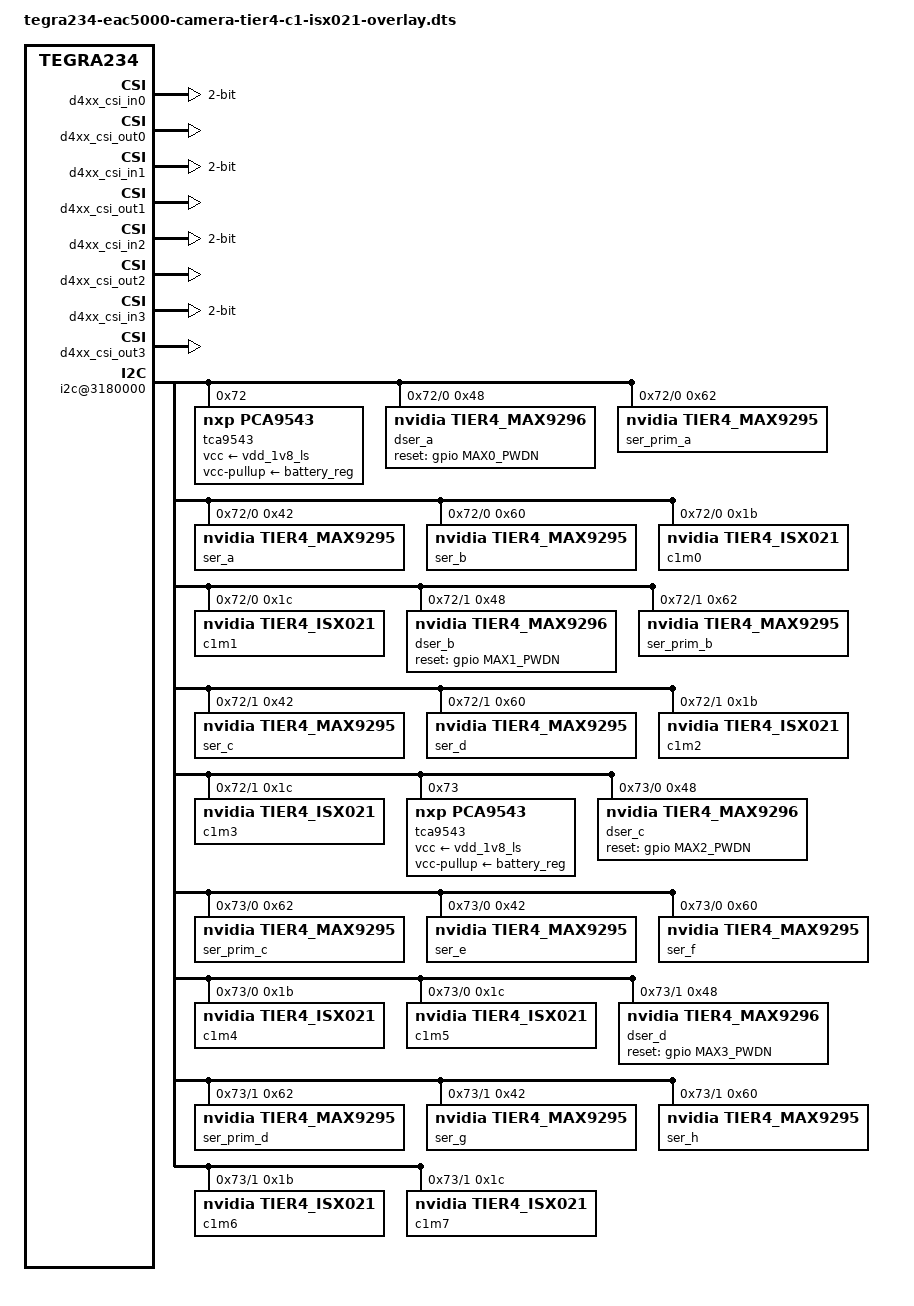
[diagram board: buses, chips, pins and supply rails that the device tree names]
// SPDX-License-Identifier: GPL-2.0-only
// SPDX-FileCopyrightText: Copyright (c) 2018-2023, INTEL CORPORATION.  All rights reserved.

/dts-v1/;
/plugin/;

#include <dt-bindings/clock/tegra234-clock.h>
#include <dt-bindings/gpio/tegra234-gpio.h>
#include <dt-bindings/tegra234-p3737-0000+p3701-0000.h>

#define MAX0_PWDN	TEGRA234_MAIN_GPIO(H, 6)
#define MAX1_PWDN	TEGRA234_MAIN_GPIO(AC, 0)
#define MAX2_PWDN	TEGRA234_MAIN_GPIO(H, 3)
#define MAX3_PWDN	TEGRA234_MAIN_GPIO(AC, 1)
#define CAMERA_I2C_MUX_BUS(x) (0x1E + x)

/* camera control gpio definitions */
/ {
	overlay-name = "EAC5000 Tier4 Camera C1 Device Tree Overlay";
	jetson-header-name = "Jetson AGX CSI Connector";
	compatible = "nvidia,p3737-0000+p3701-0000", "nvidia,tegra234", "nvidia,tegra23x";
	//compatible = JETSON_COMPATIBLE;

	fragment@0 {
		target-path = "/";
		__overlay__ {
			tegra-capture-vi {
				num-channels = <4>;
				ports {
					status = "okay";
					port@0 {
						status = "okay";
						d4xx_vi_in0: endpoint {
							status = "okay";
							vc-id = <0>;
							port-index = <0>;
							bus-width = <2>;
							remote-endpoint = <&d4xx_csi_out0>;
						};
					};
					port@1 {
						status = "okay";
						d4xx_vi_in1: endpoint {
							status = "okay";
							vc-id = <1>;
							port-index = <0>;
							bus-width = <2>;
							remote-endpoint = <&d4xx_csi_out1>;
						};
					};
					port@2 {
						status = "okay";
						d4xx_vi_in2: endpoint {
							status = "okay";
							vc-id = <2>;
							port-index = <0>;
							bus-width = <2>;
							remote-endpoint = <&d4xx_csi_out2>;
						};
					};
					port@3 {
						status = "okay";
						d4xx_vi_in3: endpoint {
							status = "okay";
							vc-id = <3>;
							port-index = <0>;
							bus-width = <2>;
							remote-endpoint = <&d4xx_csi_out3>;
						};
					};
				};
			};
			tegra-camera-platform {
				modules {
					status = "okay";
					module0 {
						status = "okay";
						badge = "d4xx_depth";
						position = "bottomleft";
						orientation = "1";
						drivernode0 {
							status = "okay";
							/* Declare PCL support driver (classically known as guid)  */
							pcl_id = "v4l2_sensor";
							/* Declare the device-tree hierarchy to driver instance */
							sysfs-device-tree = "/sys/firmware/devicetree/base/bus@0/i2c@3180000/tca9543@72/i2c@0/d4m@1a";
						};
					};
					module1 {
						status = "okay";
						badge = "d4xx_rgb";
						position = "bottomright";
						orientation = "1";
						drivernode0 {
							status = "okay";
							/* Declare PCL support driver (classically known as guid)  */
							pcl_id = "v4l2_sensor";
							/* Declare the device-tree hierarchy to driver instance */
							sysfs-device-tree = "/sys/firmware/devicetree/base/bus@0/i2c@3180000/tca9543@72/i2c@1/d4m@1a";
						};
					};
					module2 {
						status = "okay";
						badge = "d4xx_y8";
						position = "centerleft";
						orientation = "1";
						drivernode0 {
							status = "okay";
							/* Declare PCL support driver (classically known as guid)  */
							pcl_id = "v4l2_sensor";
							sysfs-device-tree = "/sys/firmware/devicetree/base/bus@0/i2c@3180000/tca9543@72/i2c@2/d4m@1a";
						};
					};
					module3 {
						status = "okay";
						badge = "d4xx_imu";
						position = "centerright";
						orientation = "1";
						drivernode0 {
							status = "okay";
								/* Declare PCL support driver (classically known as guid)  */
							pcl_id = "v4l2_sensor";
							/* Declare the device-tree hierarchy to driver instance */
							sysfs-device-tree = "/sys/firmware/devicetree/base/bus@0/i2c@3180000/tca9543@72/i2c@3/d4m@1a";
						};
					};
				};
			};
			bus@0 {
				host1x@13e00000 {
					nvcsi@15a00000 {
						num-channels = <4>;
						channel@0 {
							status = "okay";
							ports {
								status = "okay";
								port@0 {
									status = "okay";
									d4xx_csi_in0: endpoint@0 {
										status = "okay";
										port-index = <0>;
										bus-width = <2>;
										remote-endpoint = <&d4m0_out>;
									};
								};
								port@1 {
									status = "okay";
									d4xx_csi_out0: endpoint@1 {
										status = "okay";
										remote-endpoint = <&d4xx_vi_in0>;
									};
								};
							};
						};
						channel@1 {
							status = "okay";
							ports {
								status = "okay";
								port@0 {
									status = "okay";
									d4xx_csi_in1: endpoint@2 {
										status = "okay";
										port-index = <0>;
										bus-width = <2>;
										remote-endpoint = <&d4m1_out>;
									};
								};
								port@1 {
									status = "okay";
									d4xx_csi_out1: endpoint@3 {
										status = "okay";
										remote-endpoint = <&d4xx_vi_in1>;
									};
								};
							};
						};
						channel@2 {
							status = "okay";
							ports {
								status = "okay";
								port@0 {
									status = "okay";
									d4xx_csi_in2: endpoint@4 {
										status = "okay";
										port-index = <0>;
										bus-width = <2>;
										remote-endpoint = <&d4m2_out>;
									};
								};
								port@1 {
									status = "okay";
									d4xx_csi_out2: endpoint@5 {
										status = "okay";
										remote-endpoint = <&d4xx_vi_in2>;
									};
								};
							};
						};
						channel@3 {
							status = "okay";
							ports {
								status = "okay";
								port@0 {
									status = "okay";
									d4xx_csi_in3: endpoint@6 {
										status = "okay";
										port-index = <0>;
										bus-width = <2>;
										remote-endpoint = <&d4m3_out>;
									};
								};
								port@1 {
									status = "okay";
									d4xx_csi_out3: endpoint@7 {
										status = "okay";
										remote-endpoint = <&d4xx_vi_in3>;
									};
								};
							};
						};
					};
				};
				
				i2c@3180000 {
					tca9543@72 {
						status = "okay";
						reg = <0x72>;
						compatible = "nxp,pca9543";
						#address-cells = <1>;
						#size-cells = <0>;
						skip_mux_detect = "yes";
						vcc-supply = <&vdd_1v8_ls>;
						vcc-pullup-supply = <&battery_reg>;
						force_bus_start = <CAMERA_I2C_MUX_BUS(0)>;
						// vcc_lp = "vcc";

						i2c@0 {
							reg = <0>;
							i2c-mux,deselect-on-exit;
							#address-cells = <1>;
							#size-cells = <0>;

							dser_a: max9296@48 {
								status = "okay";
								reg = <0x48>;
								compatible = "nvidia,tier4_max9296";
								csi-mode = "2x4";
								max-src = <2>;
								fsync-gpio = <6>;
								reset-gpios = <&gpio MAX0_PWDN GPIO_ACTIVE_HIGH>;
							};

							ser_prim_a: max9295_prim@62 {
								status = "okay";
								reg = <0x62>;
								compatible = "nvidia,tier4_max9295";
								is-prim-ser;
							};

							ser_a: max9295_a@42 {
								status = "okay";
								reg = <0x42>;
								compatible = "nvidia,tier4_max9295";
								nvidia,gmsl-dser-device = <&dser_a>;
								//maxim,gmsl-dser-device = <&dser_a>;
							};

							ser_b: max9295_b@60 {
								status = "okay";
								reg = <0x60>;
								compatible = "nvidia,tier4_max9295";
								nvidia,gmsl-dser-device = <&dser_a>;
								//maxim,gmsl-dser-device = <&dser_a>;
							};

							c1m0: isx021_a@1b {
								status = "okay";
								reg = <0x1b>;
								compatible = "nvidia,tier4_isx021";
								def-addr = <0x1a>;
								
								/* Define any required hw resources needed by driver */
								/* ie. clocks, io pins, power sources */
#if 1
								clocks = <&bpmp_clks TEGRA234_CLK_EXTPERIPH1>,
									<&bpmp_clks TEGRA234_CLK_EXTPERIPH1>;
#else
								clocks = <&bpmp 36U>, <&bpmp 36U>;
#endif
								clock-names = "extperiph1", "pllp_grtba";
								mclk = "extperiph1";
								nvidia,gmsl-ser-device = <&ser_a>;
								nvidia,gmsl-dser-device = <&dser_a>;
							};

							c1m1: isx021_b@1c {
								status = "okay";
								reg = <0x1c>;
								compatible = "nvidia,tier4_isx021";
								def-addr = <0x1a>;
								/* Define any required hw resources needed by driver */
								/* ie. clocks, io pins, power sources */
#if 1
								clocks = <&bpmp_clks TEGRA234_CLK_EXTPERIPH1>,
									<&bpmp_clks TEGRA234_CLK_EXTPERIPH1>;
#else
								clocks = <&bpmp 36U>, <&bpmp 36U>;
#endif
								clock-names = "extperiph1", "pllp_grtba";
								mclk = "extperiph1";
								nvidia,gmsl-ser-device = <&ser_b>;
								nvidia,gmsl-dser-device = <&dser_a>;
							};
						};

						i2c@1 {
							reg = <1>;
							i2c-mux,deselect-on-exit;
							#address-cells = <1>;
							#size-cells = <0>;

							dser_b: max9296@48 {
								status = "okay";
								reg = <0x48>;
								compatible = "nvidia,tier4_max9296";
								csi-mode = "2x4";
								max-src = <2>;
								fsync-gpio = <6>;
								reset-gpios = <&gpio MAX1_PWDN GPIO_ACTIVE_HIGH>;
							};

							ser_prim_b: max9295_prim@62 {
								status = "okay";
								reg = <0x62>;
								compatible = "nvidia,tier4_max9295";
								is-prim-ser;
							};

							ser_c: max9295_a@42 {
								status = "okay";
								reg = <0x42>;
								compatible = "nvidia,tier4_max9295";
								nvidia,gmsl-dser-device = <&dser_b>;
								//maxim,gmsl-dser-device = <&dser_b>;
							};

							ser_d: max9295_b@60 {
								status = "okay";
								reg = <0x60>;
								compatible = "nvidia,tier4_max9295";
								nvidia,gmsl-dser-device = <&dser_b>;
								//maxim,gmsl-dser-device = <&dser_b>;
							};

							c1m2: isx021_c@1b {
								status = "okay";
								reg = <0x1b>;
								compatible = "nvidia,tier4_isx021";
								def-addr = <0x1a>;
								
								/* Define any required hw resources needed by driver */
								/* ie. clocks, io pins, power sources */
#if 1
								clocks = <&bpmp_clks TEGRA234_CLK_EXTPERIPH1>,
									<&bpmp_clks TEGRA234_CLK_EXTPERIPH1>;
#else
								clocks = <&bpmp 36U>, <&bpmp 36U>;
#endif
								clock-names = "extperiph1", "pllp_grtba";
								mclk = "extperiph1";
								nvidia,gmsl-ser-device = <&ser_c>;
								nvidia,gmsl-dser-device = <&dser_b>;
							};

							c1m3: isx021_d@1c {
								status = "okay";
								reg = <0x1c>;
								compatible = "nvidia,tier4_isx021";
								def-addr = <0x1a>;
								/* Define any required hw resources needed by driver */
								/* ie. clocks, io pins, power sources */
#if 1
								clocks = <&bpmp_clks TEGRA234_CLK_EXTPERIPH1>,
									<&bpmp_clks TEGRA234_CLK_EXTPERIPH1>;
#else
								clocks = <&bpmp 36U>, <&bpmp 36U>;
#endif
								clock-names = "extperiph1", "pllp_grtba";
								mclk = "extperiph1";
								nvidia,gmsl-ser-device = <&ser_d>;
								nvidia,gmsl-dser-device = <&dser_b>;
							};
						};
					};
					
					tca9543@73 {
						status = "okay";
						reg = <0x73>;
						compatible = "nxp,pca9543";
						#address-cells = <1>;
						#size-cells = <0>;
						skip_mux_detect = "yes";
						vcc-supply = <&vdd_1v8_ls>;
						vcc-pullup-supply = <&battery_reg>;
						force_bus_start = <CAMERA_I2C_MUX_BUS(2)>;
						// vcc_lp = "vcc";

						i2c@0 {
							reg = <0>;
							i2c-mux,deselect-on-exit;
							#address-cells = <1>;
							#size-cells = <0>;

							dser_c: max9296@48 {
								status = "okay";
								reg = <0x48>;
								compatible = "nvidia,tier4_max9296";
								csi-mode = "2x4";
								max-src = <2>;
								fsync-gpio = <6>;
								reset-gpios = <&gpio MAX2_PWDN GPIO_ACTIVE_HIGH>;
							};

							ser_prim_c: max9295_prim@62 {
								status = "okay";
								reg = <0x62>;
								compatible = "nvidia,tier4_max9295";
								is-prim-ser;
							};

							ser_e: max9295_a@42 {
								status = "okay";
								reg = <0x42>;
								compatible = "nvidia,tier4_max9295";
								nvidia,gmsl-dser-device = <&dser_c>;
								//maxim,gmsl-dser-device = <&dser_c>;
							};

							ser_f: max9295_b@60 {
								status = "okay";
								reg = <0x60>;
								compatible = "nvidia,tier4_max9295";
								nvidia,gmsl-dser-device = <&dser_c>;
								//maxim,gmsl-dser-device = <&dser_c>;
							};

							c1m4: isx021_a@1b {
								status = "okay";
								reg = <0x1b>;
								compatible = "nvidia,tier4_isx021";
								def-addr = <0x1a>;
								
								/* Define any required hw resources needed by driver */
								/* ie. clocks, io pins, power sources */
#if 1
								clocks = <&bpmp_clks TEGRA234_CLK_EXTPERIPH1>,
									<&bpmp_clks TEGRA234_CLK_EXTPERIPH1>;
#else
								clocks = <&bpmp 36U>, <&bpmp 36U>;
#endif
								clock-names = "extperiph1", "pllp_grtba";
								mclk = "extperiph1";
								nvidia,gmsl-ser-device = <&ser_e>;
								nvidia,gmsl-dser-device = <&dser_c>;
							};

							c1m5: isx021_b@1c {
								status = "okay";
								reg = <0x1c>;
								compatible = "nvidia,tier4_isx021";
								def-addr = <0x1a>;
								
								/* Define any required hw resources needed by driver */
								/* ie. clocks, io pins, power sources */
#if 1
								clocks = <&bpmp_clks TEGRA234_CLK_EXTPERIPH1>,
									<&bpmp_clks TEGRA234_CLK_EXTPERIPH1>;
#else
								clocks = <&bpmp 36U>, <&bpmp 36U>;
#endif
								clock-names = "extperiph1", "pllp_grtba";
								mclk = "extperiph1";
								nvidia,gmsl-ser-device = <&ser_f>;
								nvidia,gmsl-dser-device = <&dser_c>;
							};
						};

						i2c@1 {
							reg = <1>;
							i2c-mux,deselect-on-exit;
							#address-cells = <1>;
							#size-cells = <0>;

							dser_d: max9296@48 {
								status = "okay";
								reg = <0x48>;
								compatible = "nvidia,tier4_max9296";
								csi-mode = "2x4";
								max-src = <2>;
								fsync-gpio = <6>;
								reset-gpios = <&gpio MAX3_PWDN GPIO_ACTIVE_HIGH>;
							};

							ser_prim_d: max9295_prim@62 {
								status = "okay";
								reg = <0x62>;
								compatible = "nvidia,tier4_max9295";
								is-prim-ser;
							};

							ser_g: max9295_a@42 {
								status = "okay";
								reg = <0x42>;
								compatible = "nvidia,tier4_max9295";
								nvidia,gmsl-dser-device = <&dser_d>;
								//maxim,gmsl-dser-device = <&dser_d>;
							};

							ser_h: max9295_b@60 {
								status = "okay";
								reg = <0x60>;
								compatible = "nvidia,tier4_max9295";
								nvidia,gmsl-dser-device = <&dser_d>;
								//maxim,gmsl-dser-device = <&dser_d>;
							};

							c1m6: isx021_c@1b {
								status = "okay";
								reg = <0x1b>;
								compatible = "nvidia,tier4_isx021";
								def-addr = <0x1a>;
								
								/* Define any required hw resources needed by driver */
								/* ie. clocks, io pins, power sources */
#if 1
								clocks = <&bpmp_clks TEGRA234_CLK_EXTPERIPH1>,
									<&bpmp_clks TEGRA234_CLK_EXTPERIPH1>;
#else
								clocks = <&bpmp 36U>, <&bpmp 36U>;
#endif
								clock-names = "extperiph1", "pllp_grtba";
								mclk = "extperiph1";
								nvidia,gmsl-ser-device = <&ser_g>;
								nvidia,gmsl-dser-device = <&dser_d>;
							};

							c1m7: isx021_d@1c {
								status = "okay";
								reg = <0x1c>;
								compatible = "nvidia,tier4_isx021";
								def-addr = <0x1a>;
								
								/* Define any required hw resources needed by driver */
								/* ie. clocks, io pins, power sources */
#if 1
								clocks = <&bpmp_clks TEGRA234_CLK_EXTPERIPH1>,
									<&bpmp_clks TEGRA234_CLK_EXTPERIPH1>;
#else
								clocks = <&bpmp 36U>, <&bpmp 36U>;
#endif
								clock-names = "extperiph1", "pllp_grtba";
								mclk = "extperiph1";
								nvidia,gmsl-ser-device = <&ser_h>;
								nvidia,gmsl-dser-device = <&dser_d>;
							};
						};
					};
				};
			};
		};
	};
};
